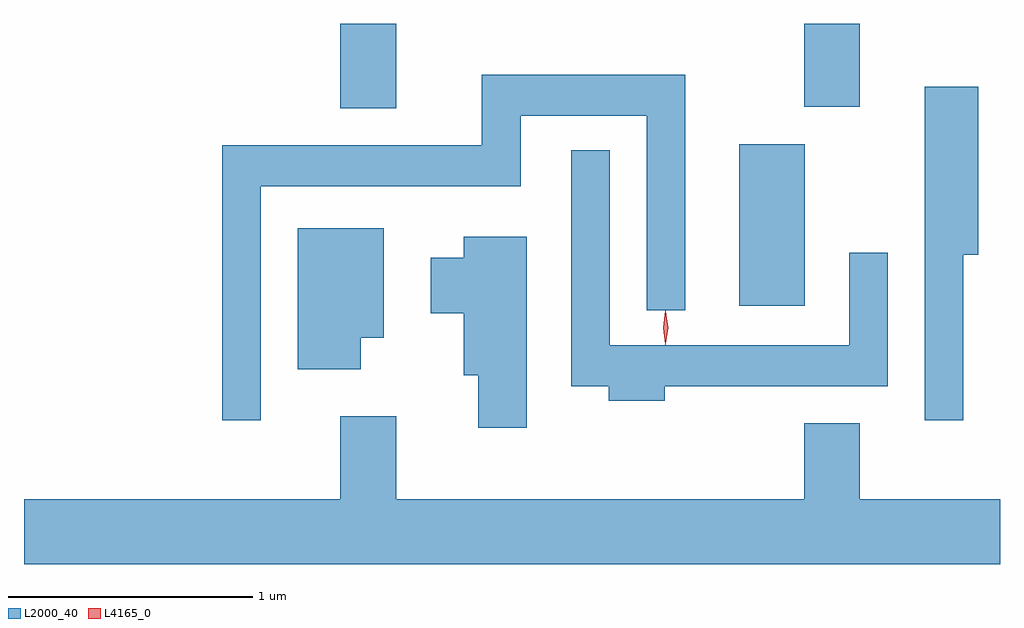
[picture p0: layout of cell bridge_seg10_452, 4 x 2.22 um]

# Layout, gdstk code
import gdstk
lib = gdstk.Library(unit=1e-6, precision=1e-09)
def R(c, l, rs):  # rectangles x0, y0, x1, y1
    for r in rs: c.add(gdstk.rectangle(r[:2], r[2:], *l))
def P(c, l, *ps):  # polygons
    for p in ps: c.add(gdstk.Polygon(p, *l))
L2000_40 = (2000, 40)
L4165_0 = (4165, 0)

bridge_seg10_452 = lib.new_cell('bridge_seg10_452')
R(bridge_seg10_452, L2000_40, [(1372.246,2130.516,1372.514,2131.179), (1370.611,2131.326,1370.839,2131.673), (1372.511,2131.331,1372.739,2131.673)])
P(bridge_seg10_452, L2000_40, [(1370.284,2131.006),(1371.349,2131.006),(1371.349,2131.296),(1371.866,2131.296),(1371.866,2130.498),(1372.024,2130.498),(1372.024,2131.464),(1371.191,2131.464),(1371.191,2131.174),(1370.126,2131.174),(1370.126,2130.048),(1370.284,2130.048)],
  [(1373.164,2130.726),(1373.224,2130.726),(1373.224,2131.414),(1373.006,2131.414),(1373.006,2130.048),(1373.164,2130.048)],
  [(1371.939,2130.186),(1372.854,2130.186),(1372.854,2130.733),(1372.696,2130.733),(1372.696,2130.354),(1371.714,2130.354),(1371.714,2131.153),(1371.556,2131.153),(1371.556,2130.186),(1371.711,2130.186),(1371.711,2130.126),(1371.939,2130.126)],
  [(1370.694,2130.386),(1370.789,2130.386),(1370.789,2130.834),(1370.436,2130.834),(1370.436,2130.256),(1370.694,2130.256)],
  [(1371.374,2130.799),(1371.116,2130.799),(1371.116,2130.714),(1370.981,2130.714),(1370.981,2130.486),(1371.116,2130.486),(1371.116,2130.231),(1371.176,2130.231),(1371.176,2130.016),(1371.374,2130.016)],
  [(1373.314,2129.724),(1372.739,2129.724),(1372.739,2130.034),(1372.511,2130.034),(1372.511,2129.724),(1370.839,2129.724),(1370.839,2130.064),(1370.611,2130.064),(1370.611,2129.724),(1369.314,2129.724),(1369.314,2129.456),(1373.314,2129.456)])
P(bridge_seg10_452, L4165_0, [(1371.944,2130.36),(1371.944,2130.36),(1371.935,2130.426),(1371.944,2130.492),(1371.945,2130.493),(1371.945,2130.492),(1371.954,2130.426),(1371.945,2130.36)],
  [(1371.943,2130.357),(1371.942,2130.358),(1371.933,2130.427),(1371.942,2130.496),(1371.943,2130.496),(1371.944,2130.496),(1371.953,2130.427),(1371.944,2130.358)])

lib.write_gds('bridge_seg10_452.gds')
